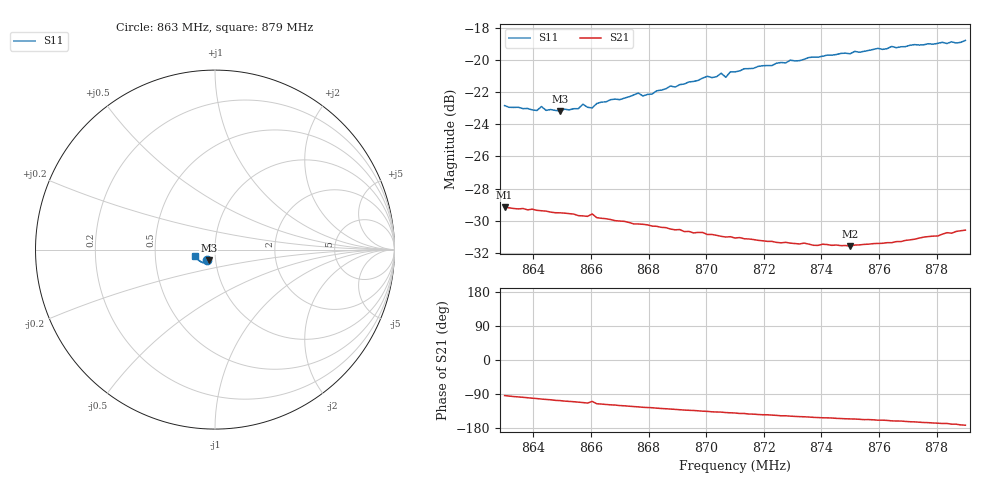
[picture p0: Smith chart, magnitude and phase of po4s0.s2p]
# HZ S RI R 50
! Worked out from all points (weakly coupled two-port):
!   101 points, 863 MHz to 879 MHz, reference 50 ohm
!   highest |S21| = -29.15 dB at 863 MHz (marker M1); lowest = -31.6 dB at 875 MHz (marker M2)
!   lowest |S11| = -23.2 dB at 864.92 MHz (marker M3), VSWR 1.15, Z = 46.3 - j5.55 ohm
!   |S11| at or under -10 dB: start of sweep to end of sweep
!   S12 and S22 are empty: the file has one direction only
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8.63e8  -0.0419 -0.0587  -0.00238 -0.0348  0 0  0 0
8.6412e8  -0.038 -0.0584  -0.00692 -0.0334  0 0  0 0
8.6428e8  -0.0378 -0.0609  -0.00773 -0.0331  0 0  0 0
8.6444e8  -0.0381 -0.0583  -0.00823 -0.0329  0 0  0 0
8.6492e8  -0.0354 -0.0597  -0.00985 -0.032  0 0  0 0
8.6556e8  -0.0353 -0.0611  -0.0119 -0.0306  0 0  0 0
8.6572e8  -0.0356 -0.0636  -0.0124 -0.0303  0 0  0 0
8.6604e8  -0.0303 -0.0641  -0.011 -0.0314  0 0  0 0
8.662e8  -0.0366 -0.0634  -0.0139 -0.0292  0 0  0 0
8.6668e8  -0.0365 -0.0658  -0.0151 -0.0281  0 0  0 0
8.67e8  -0.0373 -0.0654  -0.0159 -0.0273  0 0  0 0
8.6764e8  -0.0386 -0.0688  -0.0171 -0.0257  0 0  0 0
8.678e8  -0.0379 -0.0673  -0.0176 -0.0253  0 0  0 0
8.6844e8  -0.0405 -0.0696  -0.0186 -0.0238  0 0  0 0
8.7052e8  -0.0518 -0.0747  -0.0209 -0.0191  0 0  0 0
8.7068e8  -0.0505 -0.0724  -0.0212 -0.0186  0 0  0 0
8.7084e8  -0.0539 -0.0743  -0.0214 -0.0184  0 0  0 0
8.71e8  -0.0537 -0.0744  -0.0214 -0.018  0 0  0 0
8.7372e8  -0.0734 -0.0709  -0.0233 -0.0127  0 0  0 0
8.75e8  -0.0819 -0.0649  -0.024 -0.0109  0 0  0 0
8.7644e8  -0.0946 -0.0563  -0.0255 -0.00901  0 0  0 0
8.79e8  -0.1094 -0.035  -0.0293 -0.00408  0 0  0 0
